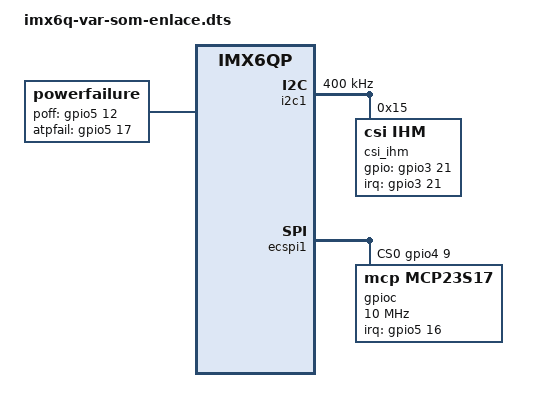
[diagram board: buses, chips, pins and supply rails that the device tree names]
/*
 * Copyright (C) 2015-2017 Variscite Ltd.
 *
 * This program is free software; you can redistribute it and/or modify
 * it under the terms of the GNU General Public License version 2 as
 * published by the Free Software Foundation.
 */

#include "imx6qp-var-som.dtsi"

&i2c1 {
     status = "okay";
     clock-frequency = <400000>;

     csi_ihm: csi_ihm@15 {
          compatible = "csi,ihm";
          reg = <0x15>;
          pinctrl-names = "default";
          pinctrl-0 = <&pinctrl_ihm>;
          interrupt-parent = <&gpio3>;
          interrupts = <21 IRQ_TYPE_EDGE_FALLING>;
          gpios = <&gpio3 21 0>;
          csi,x-plate-ohms = <100>;
          csi,poll-period = <100>;
          csi,max-rt = <300>;
          linux,wakeup;
     };
};

/* MCP23s17Q / Digital I/O */
&ecspi1 {
	fsl,spi-num-chipselects = <1>;
	cs-gpios = <&gpio4 9 0>;
	pinctrl-names = "default";
	pinctrl-0 = <&pinctrl_ecspi1_2>;
	status = "okay";

	pinctrl_ecspi1_cs_2: ecspi1_cs_grp-2 {
		fsl,pins = <
                MX6QDL_PAD_KEY_ROW1__GPIO4_IO09                 0x80000000 /* SPI1_CS0 */
                MX6QDL_PAD_DISP0_DAT22__GPIO5_IO16              0x80000000 /* MCP23S17q IRQ */
		>;
	};


        gpioc@0 {
                compatible = "mcp,mcp23s17";
                gpio-controller;
                #gpio-cells = <2>;
                mcp,spi-present-mask = <0x01>;
                reg = <0>;
                spi-max-frequency = <10000000>;
                interrupt-parent = <&gpio5>;
                interrupts = <16 2>;
        };
};

/ {
        powerfailure {
                compatible = "powerfailure";
                poff-gpio  = <&gpio5 12 0>;
                atpfail-gpio   = <&gpio5 17 0>;
        };
};

